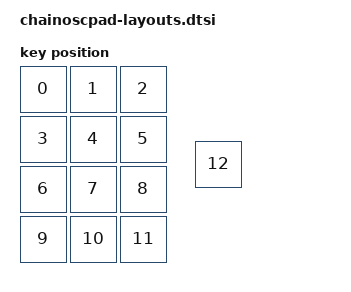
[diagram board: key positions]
#include <physical_layouts.dtsi>

/ {
    chainoscpad_layout: chainoscpad_layout {
        compatible = "zmk,physical-layout";
        display-name = "ChainOSCPad";

        /*
         * 3 x 4 key grid + encoder push.
         * Units are centi-keyunits.
         * Position order must match default_transform and keymap bindings.
         */
        keys
            = <&key_physical_attrs 100 100   0   0 0 0 0>
            , <&key_physical_attrs 100 100 100   0 0 0 0>
            , <&key_physical_attrs 100 100 200   0 0 0 0>

            , <&key_physical_attrs 100 100   0 100 0 0 0>
            , <&key_physical_attrs 100 100 100 100 0 0 0>
            , <&key_physical_attrs 100 100 200 100 0 0 0>

            , <&key_physical_attrs 100 100   0 200 0 0 0>
            , <&key_physical_attrs 100 100 100 200 0 0 0>
            , <&key_physical_attrs 100 100 200 200 0 0 0>

            , <&key_physical_attrs 100 100   0 300 0 0 0>
            , <&key_physical_attrs 100 100 100 300 0 0 0>
            , <&key_physical_attrs 100 100 200 300 0 0 0>

            , <&key_physical_attrs 100 100 350 150 0 0 0>
            ;
    };
};
